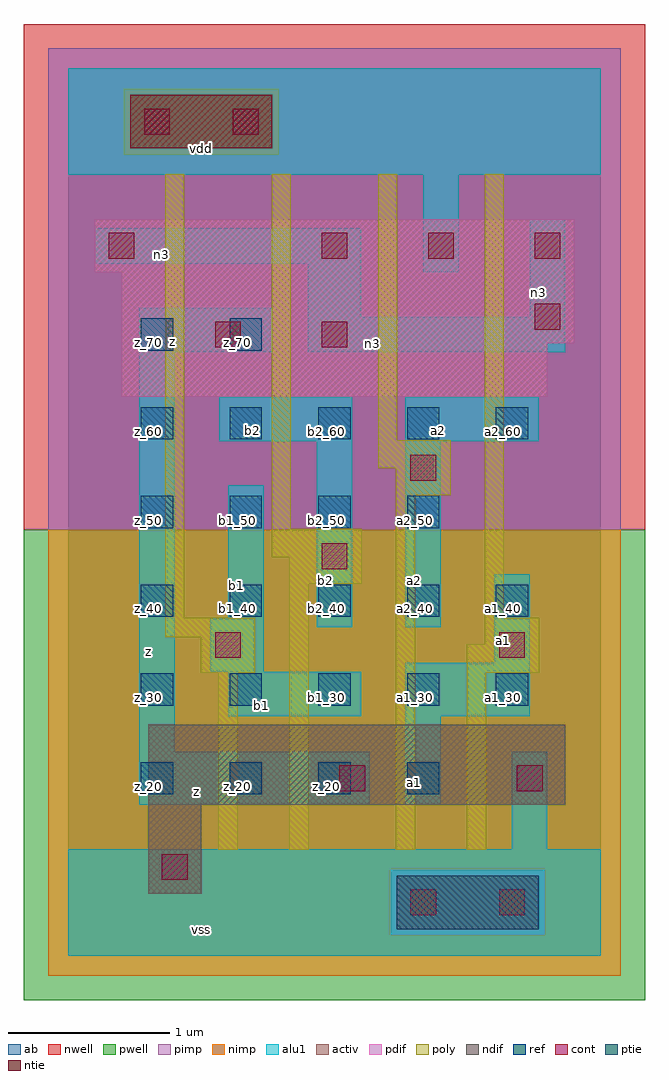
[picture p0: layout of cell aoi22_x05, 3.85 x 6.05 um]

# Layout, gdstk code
import gdstk
lib = gdstk.Library(unit=1e-6, precision=2.5e-09)
def R(c, l, rs):  # rectangles x0, y0, x1, y1
    for r in rs: c.add(gdstk.rectangle(r[:2], r[2:], *l))
def A(c, l, x, y, w, h, nx, ny, dx, dy):  # array of equal rectangles
    R(c, l, [(x+i*dx, y+j*dy, x+i*dx+w, y+j*dy+h) for i in range(nx) for j in range(ny)])
ndif = (3, 0)
pdif = (4, 0)
ntie = (5, 0)
ptie = (6, 0)
ref = (24, 0)
cont = (25, 0)
pwell = (41, 0)
nwell = (42, 0)
activ = (43, 0)
pimp = (44, 0)
nimp = (45, 0)
poly = (46, 0)
alu1 = (49, 0)
ab = (63, 0)

aoi22_x05 = lib.new_cell('aoi22_x05')
R(aoi22_x05, ndif, [(0.495,0.385,0.825,0.935), (0.495,0.935,3.08,1.43)])
R(aoi22_x05, pdif, [(0.33,3.465,2.97,3.795), (0.33,3.795,3.135,4.235), (0.165,4.235,3.135,4.565)])
R(aoi22_x05, ntie, [(0.385,5.005,1.265,5.335)])
R(aoi22_x05, ptie, [(2.035,0.165,2.915,0.495)])
A(aoi22_x05, ref, 0.45, 1, 0.2, 0.2, 4, 2, 0.55, 1.65)
A(aoi22_x05, ref, 0.45, 1.55, 0.2, 0.2, 5, 2, 0.55, 0.55)
A(aoi22_x05, ref, 0.45, 3.2, 0.2, 0.2, 5, 1, 0.55, 0)
R(aoi22_x05, ref, [(0.45,3.75,0.65,3.95), (1,3.75,1.2,3.95)])
A(aoi22_x05, cont, 1.57, 4.32, 0.16, 0.16, 3, 1, 0.66, 0)
R(aoi22_x05, cont, [(2.12,0.25,2.28,0.41), (2.67,0.25,2.83,0.41), (0.58,0.47,0.74,0.63), (1.68,1.02,1.84,1.18), (2.78,1.02,2.94,1.18), (0.91,1.845,1.07,2.005), (2.67,1.845,2.83,2.005), (1.57,2.395,1.73,2.555), (2.12,2.945,2.28,3.105), (0.91,3.77,1.07,3.93), (1.57,3.77,1.73,3.93), (2.89,3.88,3.05,4.04), (0.25,4.32,0.41,4.48), (0.47,5.09,0.63,5.25), (1.02,5.09,1.18,5.25)])
R(aoi22_x05, pwell, [(-0.275,-0.275,3.575,2.64)])
R(aoi22_x05, nwell, [(-0.275,2.64,3.575,5.775)])
R(aoi22_x05, activ, [(2.035,0.165,2.915,0.495), (0.495,0.385,0.825,0.935), (0.495,0.935,3.08,1.43), (0.33,3.465,2.97,3.795), (0.33,3.795,3.135,4.235), (0.165,4.235,3.135,4.565), (0.385,5.005,1.265,5.335)])
R(aoi22_x05, pimp, [(1.995,0.125,2.955,0.535), (-0.125,2.64,3.425,4.965), (-0.125,4.965,0.345,5.375), (1.305,4.965,3.425,5.375), (-0.125,5.375,3.425,5.625)])
R(aoi22_x05, nimp, [(-0.125,-0.125,3.425,0.125), (-0.125,0.125,1.995,0.535), (2.955,0.125,3.425,0.535), (-0.125,0.535,3.425,2.64), (0.345,4.965,1.305,5.375)])
R(aoi22_x05, poly, [(0.93,0.655,1.05,1.755), (1.37,0.655,1.49,2.305), (2.03,0.655,2.15,2.855), (2.47,0.655,2.59,1.755), (0.82,1.755,1.16,1.975), (2.47,1.755,2.92,1.93), (2.58,1.93,2.92,2.095), (0.6,1.975,1.16,2.095), (0.6,2.095,0.72,4.845), (2.58,2.095,2.7,4.845), (1.37,2.305,1.82,2.47), (1.26,2.47,1.82,2.645), (1.26,2.645,1.38,4.845), (2.03,2.855,2.37,3.02), (1.92,3.02,2.37,3.195), (1.92,3.195,2.04,4.845)])
R(aoi22_x05, alu1, [(0,0,3.3,0.66), (2.75,0.66,2.97,1.265), (0.44,0.935,1.87,1.265), (2.09,0.935,2.31,1.485), (0.44,1.265,0.66,3.74), (0.99,1.485,1.815,1.76), (2.09,1.485,2.86,1.815), (0.88,1.76,1.21,2.09), (2.64,1.815,2.86,2.365), (1.54,2.035,1.76,3.19), (2.09,2.035,2.31,3.19), (0.99,2.09,1.21,2.915), (0.935,3.19,1.76,3.465), (2.09,3.19,2.915,3.465), (0.44,3.74,1.265,4.015), (1.485,3.74,3.08,3.96), (1.485,3.96,1.815,4.29), (2.86,3.96,3.08,4.565), (2.2,4.235,2.42,4.84), (0.165,4.29,1.815,4.51), (0,4.84,3.3,5.5)])
R(aoi22_x05, ab, [(0,0,3.3,5.5)])
aoi22_x05.add(gdstk.Label('vss', (0.825,0.165), layer=49, texttype=0))
aoi22_x05.add(gdstk.Label('a1', (2.145,1.0725), layer=49, texttype=0))
aoi22_x05.add(gdstk.Label('z', (0.7975,1.0175), layer=49, texttype=0))
aoi22_x05.add(gdstk.Label('b1', (1.195,1.5525), layer=49, texttype=0))
aoi22_x05.add(gdstk.Label('a1', (2.695,1.9525), layer=49, texttype=0))
aoi22_x05.add(gdstk.Label('a2', (2.145,2.3225), layer=49, texttype=0))
aoi22_x05.add(gdstk.Label('a2', (2.295,3.2575), layer=49, texttype=0))
aoi22_x05.add(gdstk.Label('b2', (1.595,2.3225), layer=49, texttype=0))
aoi22_x05.add(gdstk.Label('b1', (1.045,2.295), layer=49, texttype=0))
aoi22_x05.add(gdstk.Label('b2', (1.14,3.2575), layer=49, texttype=0))
aoi22_x05.add(gdstk.Label('z', (0.495,1.8825), layer=49, texttype=0))
aoi22_x05.add(gdstk.Label('n3', (1.8825,3.795), layer=49, texttype=0))
aoi22_x05.add(gdstk.Label('n3', (2.915,4.11), layer=49, texttype=0))
aoi22_x05.add(gdstk.Label('z', (0.645,3.8075), layer=49, texttype=0))
aoi22_x05.add(gdstk.Label('n3', (0.5775,4.345), layer=49, texttype=0))
aoi22_x05.add(gdstk.Label('vdd', (0.825,5.005), layer=49, texttype=0))
aoi22_x05.add(gdstk.Label('a1_20', (2.15,1.05), layer=24, texttype=0))
aoi22_x05.add(gdstk.Label('z_20', (0.5,1.05), layer=24, texttype=0))
aoi22_x05.add(gdstk.Label('b1_30', (1.05,1.6), layer=24, texttype=0))
aoi22_x05.add(gdstk.Label('a1_30', (2.7,1.6), layer=24, texttype=0))
aoi22_x05.add(gdstk.Label('a2_60', (2.7,3.25), layer=24, texttype=0))
aoi22_x05.add(gdstk.Label('z_70', (0.5,3.8), layer=24, texttype=0))
aoi22_x05.add(gdstk.Label('a1_30', (2.15,1.6), layer=24, texttype=0))
aoi22_x05.add(gdstk.Label('a1_40', (2.7,2.15), layer=24, texttype=0))
aoi22_x05.add(gdstk.Label('a2_40', (2.15,2.15), layer=24, texttype=0))
aoi22_x05.add(gdstk.Label('a2_50', (2.15,2.7), layer=24, texttype=0))
aoi22_x05.add(gdstk.Label('a2_60', (2.15,3.25), layer=24, texttype=0))
aoi22_x05.add(gdstk.Label('b2_40', (1.6,2.15), layer=24, texttype=0))
aoi22_x05.add(gdstk.Label('b2_50', (1.6,2.7), layer=24, texttype=0))
aoi22_x05.add(gdstk.Label('b2_60', (1.05,3.25), layer=24, texttype=0))
aoi22_x05.add(gdstk.Label('b2_60', (1.6,3.25), layer=24, texttype=0))
aoi22_x05.add(gdstk.Label('b1_30', (1.6,1.6), layer=24, texttype=0))
aoi22_x05.add(gdstk.Label('b1_40', (1.05,2.15), layer=24, texttype=0))
aoi22_x05.add(gdstk.Label('b1_50', (1.05,2.7), layer=24, texttype=0))
aoi22_x05.add(gdstk.Label('z_40', (0.5,2.15), layer=24, texttype=0))
aoi22_x05.add(gdstk.Label('z_50', (0.5,2.7), layer=24, texttype=0))
aoi22_x05.add(gdstk.Label('z_60', (0.5,3.25), layer=24, texttype=0))
aoi22_x05.add(gdstk.Label('z_20', (1.6,1.05), layer=24, texttype=0))
aoi22_x05.add(gdstk.Label('z_30', (0.5,1.6), layer=24, texttype=0))
aoi22_x05.add(gdstk.Label('z_20', (1.05,1.05), layer=24, texttype=0))
aoi22_x05.add(gdstk.Label('z_70', (1.05,3.8), layer=24, texttype=0))

lib.write_gds('aoi22_x05.gds')
